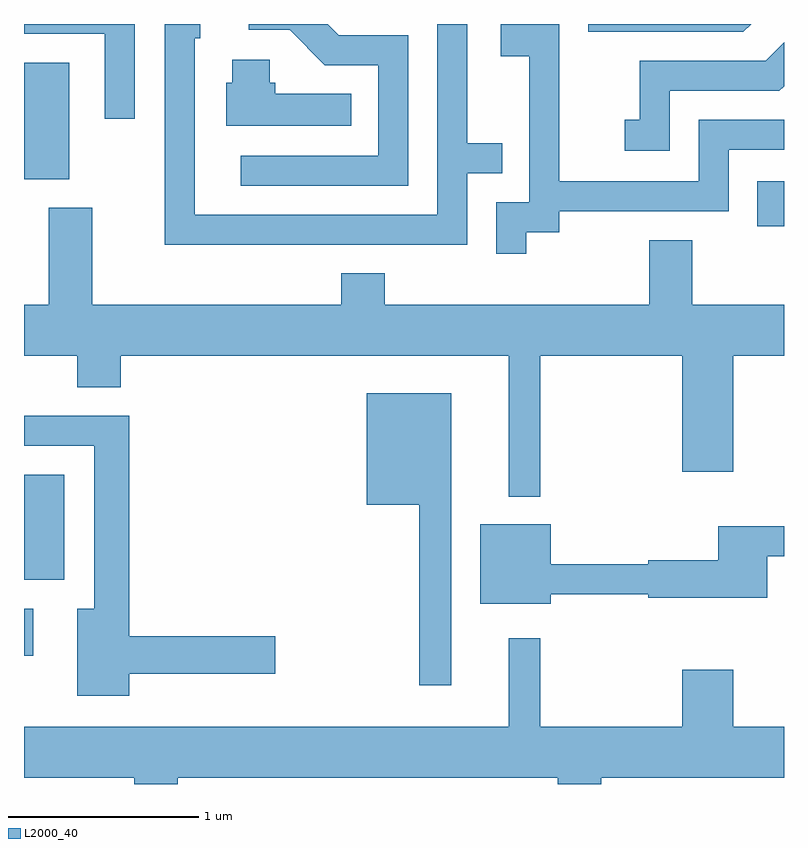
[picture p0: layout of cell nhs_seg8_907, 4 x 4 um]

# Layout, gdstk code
import gdstk
lib = gdstk.Library(unit=1e-6, precision=1e-09)
def R(c, l, rs):  # rectangles x0, y0, x1, y1
    for r in rs: c.add(gdstk.rectangle(r[:2], r[2:], *l))
def P(c, l, *ps):  # polygons
    for p in ps: c.add(gdstk.Polygon(p, *l))
L2000_40 = (2000, 40)

nhs_seg8_907 = lib.new_cell('nhs_seg8_907')
R(nhs_seg8_907, L2000_40, [(211.611,1877.016,211.659,1877.264), (211.611,1877.416,211.824,1877.969), (215.471,1879.278,215.611,1879.514), (211.611,1879.526,211.849,1880.139)])
P(nhs_seg8_907, L2000_40, [(214.254,1879.246),(214.429,1879.246),(214.429,1879.356),(215.319,1879.356),(215.319,1879.681),(215.611,1879.681),(215.611,1879.839),(215.161,1879.839),(215.161,1879.514),(214.429,1879.514),(214.429,1880.342),(214.121,1880.342),(214.121,1880.171),(214.271,1880.171),(214.271,1879.404),(214.096,1879.404),(214.096,1879.133),(214.254,1879.133)],
  [(213.634,1880.284),(213.267,1880.284),(213.209,1880.342),(212.793,1880.342),(212.793,1880.311),(213.009,1880.311),(213.194,1880.126),(213.476,1880.126),(213.476,1879.649),(212.753,1879.649),(212.753,1879.491),(213.634,1879.491)],
  [(212.194,1880.342),(211.611,1880.342),(211.611,1880.291),(212.036,1880.291),(212.036,1879.843),(212.194,1879.843)],
  [(215.438,1880.342),(214.581,1880.342),(214.581,1880.301),(215.397,1880.301)],
  [(213.944,1879.556),(214.128,1879.556),(214.128,1879.714),(213.944,1879.714),(213.944,1880.342),(213.786,1880.342),(213.786,1879.339),(212.509,1879.339),(212.509,1880.266),(212.539,1880.266),(212.539,1880.342),(212.351,1880.342),(212.351,1879.181),(213.944,1879.181)],
  [(215.009,1879.991),(215.587,1879.991),(215.611,1880.015),(215.611,1880.246),(215.514,1880.149),(214.851,1880.149),(214.851,1879.839),(214.773,1879.839),(214.773,1879.676),(215.009,1879.676)],
  [(213.333,1879.974),(212.934,1879.974),(212.934,1880.034),(212.904,1880.034),(212.904,1880.154),(212.706,1880.154),(212.706,1880.034),(212.676,1880.034),(212.676,1879.806),(213.333,1879.806)],
  [(214.329,1878.596),(215.076,1878.596),(215.076,1877.986),(215.344,1877.986),(215.344,1878.596),(215.611,1878.596),(215.611,1878.864),(215.129,1878.864),(215.129,1879.204),(214.901,1879.204),(214.901,1878.864),(213.509,1878.864),(213.509,1879.029),(213.281,1879.029),(213.281,1878.864),(211.969,1878.864),(211.969,1879.374),(211.741,1879.374),(211.741,1878.864),(211.611,1878.864),(211.611,1878.596),(211.891,1878.596),(211.891,1878.431),(212.119,1878.431),(212.119,1878.596),(214.161,1878.596),(214.161,1877.853),(214.329,1877.853)],
  [(213.859,1878.399),(213.416,1878.399),(213.416,1877.811),(213.691,1877.811),(213.691,1876.863),(213.859,1876.863)],
  [(212.164,1876.921),(212.934,1876.921),(212.934,1877.119),(212.164,1877.119),(212.164,1878.279),(211.611,1878.279),(211.611,1878.121),(211.981,1878.121),(211.981,1877.264),(211.891,1877.264),(211.891,1876.806),(212.164,1876.806)],
  [(214.384,1877.341),(214.896,1877.341),(214.896,1877.321),(215.524,1877.321),(215.524,1877.541),(215.611,1877.541),(215.611,1877.699),(215.266,1877.699),(215.266,1877.519),(214.896,1877.519),(214.896,1877.499),(214.384,1877.499),(214.384,1877.709),(214.011,1877.709),(214.011,1877.291),(214.384,1877.291)],
  [(212.419,1876.376),(214.421,1876.376),(214.421,1876.342),(214.649,1876.342),(214.649,1876.376),(215.611,1876.376),(215.611,1876.644),(215.344,1876.644),(215.344,1876.944),(215.076,1876.944),(215.076,1876.644),(214.329,1876.644),(214.329,1877.108),(214.161,1877.108),(214.161,1876.644),(211.611,1876.644),(211.611,1876.376),(212.191,1876.376),(212.191,1876.342),(212.419,1876.342)])

lib.write_gds('nhs_seg8_907.gds')
